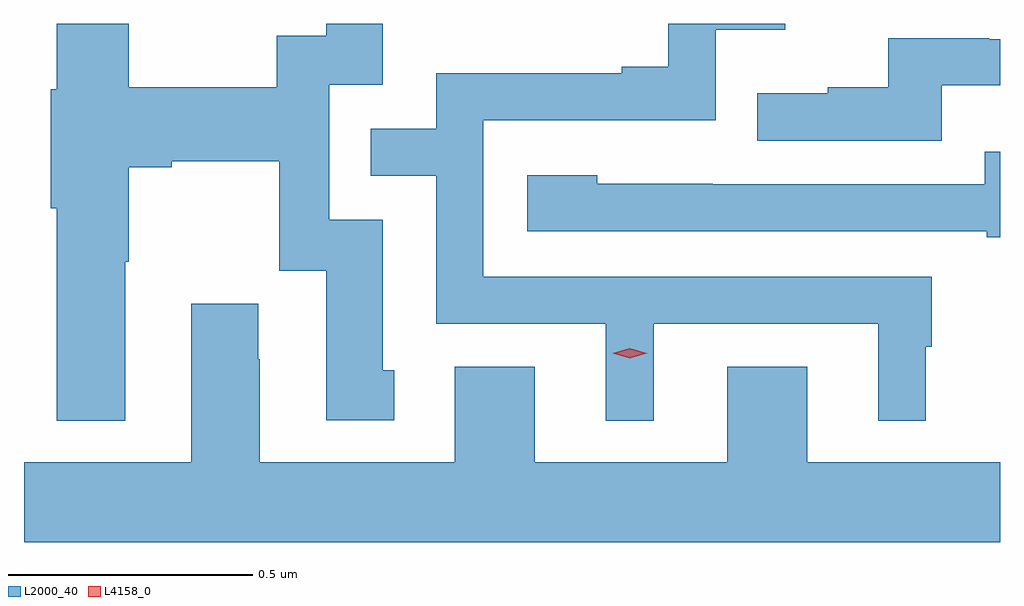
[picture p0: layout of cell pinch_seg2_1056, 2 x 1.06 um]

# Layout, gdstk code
import gdstk
lib = gdstk.Library(unit=1e-6, precision=1e-09)
def P(c, l, *ps):  # polygons
    for p in ps: c.add(gdstk.Polygon(p, *l))
L2000_40 = (2000, 40)
L4158_0 = (4158, 0)

pinch_seg2_1056 = lib.new_cell('pinch_seg2_1056')
P(pinch_seg2_1056, L2000_40, [(251.902,605.46),(252.362,605.46),(252.362,605.261),(252.46,605.261),(252.46,605.412),(252.472,605.412),(252.472,605.556),(251.553,605.556),(251.553,605.877),(252.03,605.877),(252.03,606.062),(252.172,606.062),(252.172,606.074),(251.932,606.074),(251.932,605.986),(251.837,605.986),(251.837,605.973),(251.457,605.973),(251.457,605.859),(251.323,605.859),(251.323,605.763),(251.457,605.763),(251.457,605.46),(251.804,605.46),(251.804,605.261),(251.902,605.261)],
  [(250.819,605.587),(250.827,605.587),(250.827,605.78),(250.915,605.78),(250.915,605.792),(251.135,605.792),(251.135,605.568),(251.231,605.568),(251.231,605.262),(251.371,605.262),(251.371,605.364),(251.347,605.364),(251.347,605.673),(251.238,605.673),(251.238,605.949),(251.347,605.949),(251.347,606.074),(251.231,606.074),(251.231,606.05),(251.13,606.05),(251.13,605.944),(250.827,605.944),(250.827,606.074),(250.679,606.074),(250.679,605.94),(250.667,605.94),(250.667,605.696),(250.679,605.696),(250.679,605.261),(250.819,605.261)],
  [(252.493,605.948),(252.612,605.948),(252.612,606.042),(252.59,606.042),(252.59,606.045),(252.383,606.045),(252.383,605.944),(252.259,605.944),(252.259,605.932),(252.115,605.932),(252.115,605.835),(252.493,605.835)],
  [(252.612,605.812),(252.581,605.812),(252.581,605.745),(252.023,605.745),(252.023,605.746),(251.787,605.746),(251.787,605.764),(251.643,605.764),(251.643,605.649),(252.585,605.649),(252.585,605.637),(252.612,605.637)],
  [(252.612,605.176),(252.217,605.176),(252.217,605.371),(252.053,605.371),(252.053,605.176),(251.659,605.176),(251.659,605.371),(251.495,605.371),(251.495,605.176),(251.095,605.176),(251.095,605.387),(251.092,605.387),(251.092,605.5),(250.955,605.5),(250.955,605.176),(250.612,605.176),(250.612,605.012),(252.612,605.012)])
P(pinch_seg2_1056, L4158_0, [(251.853,605.389),(251.818,605.399),(251.817,605.399),(251.818,605.399),(251.853,605.409),(251.888,605.399),(251.889,605.399),(251.888,605.399)])

lib.write_gds('pinch_seg2_1056.gds')
